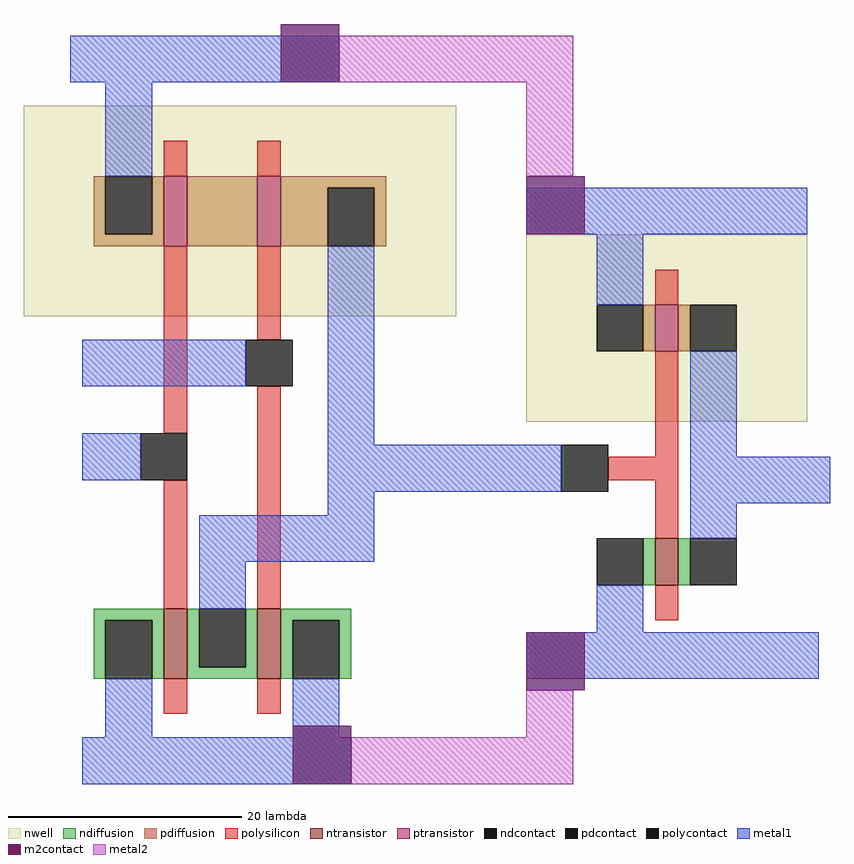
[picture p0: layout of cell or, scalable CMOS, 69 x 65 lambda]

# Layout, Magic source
magic
tech scmos
<< metal1 >>
rect 5 60 6 64
rect 6 34 7 38
rect 6 26 7 30
rect 34 25 45 29
rect 69 24 70 28
rect 6 0 7 4
<< m2contact >>
rect 23 60 28 65
rect 44 47 49 52
rect 44 8 49 13
rect 24 0 29 5
<< metal2 >>
rect 28 60 48 64
rect 44 52 48 60
rect 44 4 48 8
rect 29 0 48 4
use inverter  inverter_0
transform 1 0 76 0 1 43
box -32 -34 -7 8
use nor  nor_0
transform 1 0 1 0 1 40
box 0 -40 37 24
<< end >>

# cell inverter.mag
magic
tech scmos
<< nwell >>
rect -32 -12 -8 4
<< ntransistor >>
rect -21 -26 -19 -22
<< ptransistor >>
rect -21 -6 -19 -2
<< ndiffusion >>
rect -22 -26 -21 -22
rect -19 -26 -18 -22
<< pdiffusion >>
rect -22 -6 -21 -2
rect -19 -6 -18 -2
<< ndcontact >>
rect -26 -26 -22 -22
rect -18 -26 -14 -22
<< pdcontact >>
rect -26 -6 -22 -2
rect -18 -6 -14 -2
<< polysilicon >>
rect -21 -2 -19 1
rect -21 -15 -19 -6
rect -25 -17 -19 -15
rect -21 -22 -19 -17
rect -21 -29 -19 -26
<< polycontact >>
rect -29 -18 -25 -14
<< metal1 >>
rect -32 4 -8 8
rect -26 -2 -22 4
rect -32 -18 -29 -14
rect -18 -15 -14 -6
rect -18 -19 -7 -15
rect -18 -22 -14 -19
rect -26 -30 -22 -26
rect -32 -34 -7 -30
<< end >>

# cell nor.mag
magic
tech scmos
<< nwell >>
rect 0 0 37 18
<< ntransistor >>
rect 12 -31 14 -25
rect 20 -31 22 -25
<< ptransistor >>
rect 12 6 14 12
rect 20 6 22 12
<< ndiffusion >>
rect 6 -26 12 -25
rect 6 -31 7 -26
rect 11 -31 12 -26
rect 14 -30 15 -25
rect 19 -30 20 -25
rect 14 -31 20 -30
rect 22 -26 28 -25
rect 22 -31 23 -26
rect 27 -31 28 -26
<< pdiffusion >>
rect 6 7 7 12
rect 11 7 12 12
rect 6 6 12 7
rect 14 6 20 12
rect 22 11 31 12
rect 22 6 26 11
rect 30 6 31 11
<< ndcontact >>
rect 7 -31 11 -26
rect 15 -30 19 -25
rect 23 -31 27 -26
<< pdcontact >>
rect 7 7 11 12
rect 26 6 30 11
<< polysilicon >>
rect 12 12 14 15
rect 20 12 22 15
rect 12 -10 14 6
rect 20 -2 22 6
rect 12 -25 14 -14
rect 20 -25 22 -6
rect 12 -34 14 -31
rect 20 -34 22 -31
<< polycontact >>
rect 19 -6 23 -2
rect 10 -14 14 -10
<< metal1 >>
rect 5 20 27 24
rect 7 12 11 20
rect 6 -6 19 -2
rect 6 -14 10 -10
rect 26 -11 30 6
rect 26 -15 34 -11
rect 26 -17 30 -15
rect 15 -21 30 -17
rect 15 -25 19 -21
rect 7 -36 11 -31
rect 23 -36 27 -31
rect 6 -40 28 -36
<< end >>
